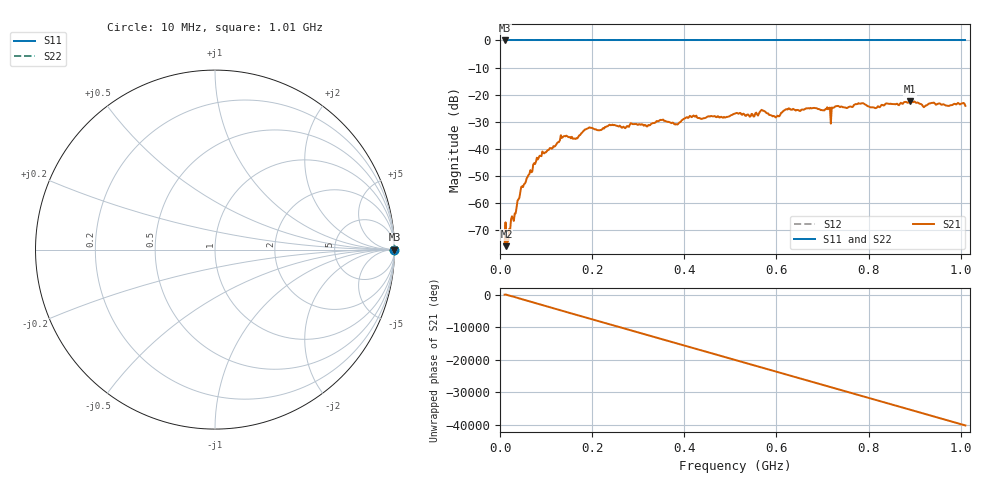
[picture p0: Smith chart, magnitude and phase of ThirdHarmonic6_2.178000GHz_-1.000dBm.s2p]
! 8/17/2025 1:59:00 AM
! C:\ANRITSUVNA\TEMP\TEMP.S2P
! CHANNEL.1
! TR.MEASUREMENT
! RAW.DATA
! RF.CORRECTION.OFF
! AVERAGING.OFF
! IF.BANDWIDTH: 5KHZ
! SWEEPTYPE:  FREQ.SWEEP(Linear)
! Reference Plane Port Info
! PORT:  PORT1  PORT2
! DISTANCE:  0  m  0  m
! TIME:  0  s  0  s
! PHASE.OFFSET:  0  deg.  0  deg.
! LOSS:  0  dB  0  dB
! REF.LOSS:  0  dB  0  dB
! REF.FREQ:  0  Hz  0  Hz
! Power Info
! POWER:  -20  dBm  -20  dBm
! EFF.POWER:  -20  dBm  -20  dBm
! SOURCE.ATTEN:  0  dB  0  dB
! TEST.ATTEN:  0  dB  0  dB
# GHZ S RI R 50.0
! FREQ.GHZ  S11RE  S11IM  S21RE  S21IM  S12RE  S12IM  S22RE  S22IM
!; PortSelection: Port_12
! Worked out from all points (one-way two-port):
!   501 points, 10 MHz to 1.01 GHz, reference 50 ohm
!   highest |S21| = -22.46 dB at 890 MHz (marker M1); lowest = -75.9 dB at 14 MHz (marker M2)
!   lowest |S11| = 0.0 dB at 10 MHz (marker M3)
!   |S11| at or under -10 dB: nowhere
!   |S22| runs from 0.0 to 0.0 dB; largest |S21 - S12| = 1.1
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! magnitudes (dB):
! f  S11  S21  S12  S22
! 10 MHz  0.0  -75.4  0.0  0.0
! 14 MHz  0.0  -75.9  0.0  0.0
! 18 MHz  0.0  -73.7  0.0  0.0
! 24 MHz  0.0  -65.9  0.0  0.0
! 48 MHz  0.0  -53.8  0.0  0.0
! 76 MHz  0.0  -45.6  0.0  0.0
! 136 MHz  0.0  -35.7  0.0  0.0
! 164 MHz  0.0  -36.3  0.0  0.0
! 178 MHz  0.0  -34.0  0.0  0.0
! 344 MHz  0.0  -29.8  0.0  0.0
! 382 MHz  0.0  -30.8  0.0  0.0
! 416 MHz  0.0  -28.3  0.0  0.0
! 510 MHz  0.0  -26.9  0.0  0.0
! 570 MHz  0.0  -25.9  0.0  0.0
! 602 MHz  0.0  -27.7  0.0  0.0
! 624 MHz  0.0  -25.5  0.0  0.0
! 678 MHz  0.0  -25.0  0.0  0.0
! 716 MHz  0.0  -24.8  0.0  0.0
! 732 MHz  0.0  -24.2  0.0  0.0
! 844 MHz  0.0  -23.4  0.0  0.0
! 890 MHz  0.0  -22.5  0.0  0.0
! 1.01 GHz  0.0  -24.1  0.0  0.0
